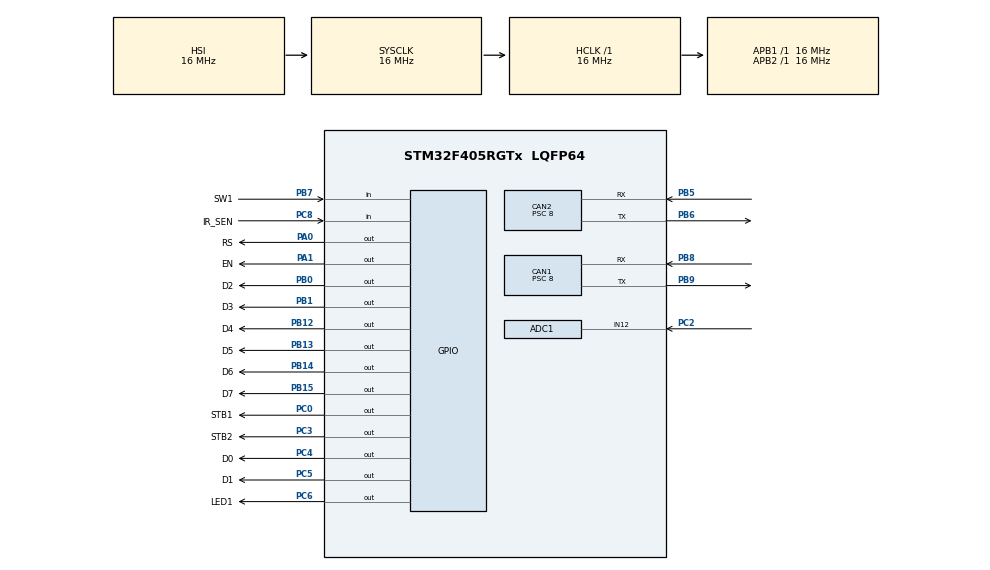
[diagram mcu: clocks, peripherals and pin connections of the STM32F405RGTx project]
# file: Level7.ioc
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ADC1.Channel-0\#ChannelRegularConversion=ADC_CHANNEL_12
ADC1.NbrOfConversionFlag=1
ADC1.Rank-0\#ChannelRegularConversion=1
ADC1.SamplingTime-0\#ChannelRegularConversion=ADC_SAMPLETIME_3CYCLES
ADC1.master=1
CAN1.BS1=CAN_BS1_9TQ
CAN1.BS2=CAN_BS2_2TQ
CAN1.CalculateBaudRate=166666
CAN1.CalculateTimeBit=6000
CAN1.CalculateTimeQuantum=500.0
CAN1.Prescaler=8
CAN2.BS1=CAN_BS1_9TQ
CAN2.BS2=CAN_BS2_2TQ
CAN2.CalculateBaudRate=166666
CAN2.CalculateTimeBit=6000
CAN2.CalculateTimeQuantum=500.0
CAN2.Prescaler=8
Mcu.Family=STM32F4
Mcu.Name=STM32F405RGTx
Mcu.Package=LQFP64
NVIC.PriorityGroup=NVIC_PRIORITYGROUP_4
PA0-WKUP.GPIO_Label=RS
PA0-WKUP.Signal=GPIO_Output
PA1.GPIO_Label=EN
PA1.Signal=GPIO_Output
PA13.Mode=Serial_Wire
PA13.Signal=SYS_JTMS-SWDIO
PA14.Mode=Serial_Wire
PA14.Signal=SYS_JTCK-SWCLK
PB0.GPIO_Label=D2
PB0.Signal=GPIO_Output
PB1.GPIO_Label=D3
PB1.Signal=GPIO_Output
PB12.GPIO_Label=D4
PB12.Signal=GPIO_Output
PB13.GPIO_Label=D5
PB13.Signal=GPIO_Output
PB14.GPIO_Label=D6
PB14.Signal=GPIO_Output
PB15.GPIO_Label=D7
PB15.Signal=GPIO_Output
PB5.Mode=CAN_Activate
PB5.Signal=CAN2_RX
PB6.Mode=CAN_Activate
PB6.Signal=CAN2_TX
PB7.GPIO_Label=SW1
PB7.Signal=GPIO_Input
PB8.Mode=CAN_Activate
PB8.Signal=CAN1_RX
PB9.Mode=CAN_Activate
PB9.Signal=CAN1_TX
PC0.GPIO_Label=STB1
PC0.Signal=GPIO_Output
PC14-OSC32_IN.Mode=LSE-External-Oscillator
PC14-OSC32_IN.Signal=RCC_OSC32_IN
PC15-OSC32_OUT.Mode=LSE-External-Oscillator
PC15-OSC32_OUT.Signal=RCC_OSC32_OUT
PC2.Signal=ADCx_IN12
PC3.GPIO_Label=STB2
PC3.Signal=GPIO_Output
PC4.GPIO_Label=D0
PC4.Signal=GPIO_Output
PC5.GPIO_Label=D1
PC5.Signal=GPIO_Output
PC6.GPIO_Label=LED1
PC6.Signal=GPIO_Output
PC8.GPIO_Label=IR_SEN
PC8.Signal=GPIO_Input
PH0-OSC_IN.Mode=HSE-External-Oscillator
PH0-OSC_IN.Signal=RCC_OSC_IN
PH1-OSC_OUT.Mode=HSE-External-Oscillator
PH1-OSC_OUT.Signal=RCC_OSC_OUT
ProjectManager.HeapSize=0x200
ProjectManager.StackSize=0x400
ProjectManager.TargetToolchain=STM32CubeIDE
RCC.48MHZClocksFreq_Value=48000000
RCC.AHBFreq_Value=16000000
RCC.APB1Freq_Value=16000000
RCC.APB2Freq_Value=16000000
RCC.CortexFreq_Value=16000000
RCC.HSE_VALUE=25000000
RCC.HSI_VALUE=16000000
RCC.SYSCLKFreq_VALUE=16000000
RCC.VCOOutputFreq_Value=192000000
SH.ADCx_IN12.0=ADC1_IN12,IN12
board=custom

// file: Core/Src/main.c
/* USER CODE BEGIN Header */
/**
  ******************************************************************************
  * @file           : main.c
  * @brief          : Main program body
  ******************************************************************************
  * @attention
  *
  * Copyright (c) 2024 STMicroelectronics.
  * All rights reserved.
  *
  * This software is licensed under terms that can be found in the LICENSE file
  * in the root directory of this software component.
  * If no LICENSE file comes with this software, it is provided AS-IS.
  *
  ******************************************************************************
  */
/* USER CODE END Header */
#include "main.h"

ADC_HandleTypeDef hadc1;

CAN_HandleTypeDef hcan1;
CAN_HandleTypeDef hcan2;

/* USER CODE BEGIN PV */
CAN_TxHeaderTypeDef  p1header;
CAN_RxHeaderTypeDef  p2header;
uint32_t pTxMailbox = CAN_TX_MAILBOX0, RxFifo = CAN_RX_FIFO0;
CAN_FilterTypeDef  sFilterConfig;
uint8_t aData[8], received_data[8];
uint8_t speed = 0, count = 0, obstacle_status = 0, engine_status = 0, SW1;
uint8_t can_data, Can_id;
/* USER CODE END PV */

void SystemClock_Config(void);
static void MX_GPIO_Init(void);
static void MX_CAN1_Init(void);
static void MX_CAN2_Init(void);
static void MX_ADC1_Init(void);
/* USER CODE BEGIN PFP */
void lcd_init();
void cmd(unsigned char C);
void data(unsigned char D);
void display(unsigned char *ptr);
void numeric(unsigned char Value);
/* USER CODE END PFP */

int main(void)
{

  /* MCU Configuration--------------------------------------------------------*/

  /* Reset of all peripherals, Initializes the Flash interface and the Systick. */
  HAL_Init();

  /* Configure the system clock */
  SystemClock_Config();

  /* Initialize all configured peripherals */
  MX_GPIO_Init();
  MX_CAN1_Init();
  MX_CAN2_Init();
  MX_ADC1_Init();
  /* USER CODE BEGIN 2 */
  	lcd_init();
	HAL_Delay(500);

	// Set Output pin STB1, STB2 as LOW
	HAL_GPIO_WritePin(GPIOC, STB1_Pin, GPIO_PIN_RESET);
	HAL_GPIO_WritePin(GPIOC, STB2_Pin, GPIO_PIN_RESET);

	// CAN Tx message header configuration
	p1header.DLC = 8;
	p1header.IDE = CAN_ID_STD;
	p1header.StdId = 0x001;
	p1header.RTR = CAN_RTR_DATA;

	// CAN Filter configuration
	sFilterConfig.FilterFIFOAssignment = CAN_FILTER_FIFO0;
	sFilterConfig.FilterIdHigh = 0x00C;
	sFilterConfig.FilterIdLow = 0x00A;
	sFilterConfig.FilterMaskIdHigh = 0;
	sFilterConfig.FilterMaskIdLow = 0;
	sFilterConfig.FilterScale = CAN_FILTERSCALE_32BIT;
	sFilterConfig.FilterActivation = ENABLE;
	HAL_CAN_ConfigFilter(&hcan1, &sFilterConfig);
	HAL_CAN_ConfigFilter(&hcan2, &sFilterConfig);

	// Start CAN transmission
	HAL_CAN_Start(&hcan1);
	HAL_CAN_Start(&hcan2);
  /* USER CODE END 2 */

  /* Infinite loop */
  while (1)
  {

	SW1 = HAL_GPIO_ReadPin(SW1_GPIO_Port, SW1_Pin);
	obstacle_status = HAL_GPIO_ReadPin(IR_SEN_GPIO_Port, IR_SEN_Pin);

	if ((!SW1) && (engine_status == 0))
	{
		engine_status = 1;
		HAL_GPIO_WritePin(LED1_GPIO_Port, LED1_Pin, 0);
	}
	else if ((!SW1) && (engine_status == 1))
	{
		engine_status = 0;
		HAL_GPIO_WritePin(LED1_GPIO_Port, LED1_Pin ,1);
	}

	// ADC start and speed calculation
	HAL_ADC_Start(&hadc1);
	HAL_ADC_PollForConversion(&hadc1, 100);
	count = HAL_ADC_GetValue(&hadc1);
	speed = ((100*count)/4095);
	HAL_ADC_Stop(&hadc1);

	// Data configuration base on engine status
	if (engine_status == 1)
	{
		aData[0] = engine_status;
		aData[1] = speed;
		aData[2] = obtacle_status;
		aData[3] = 0;
		aData[4] = 0;
		aData[5] = 0;
		aData[6] = 0;
		aData[7] = 0;
	}
	else
	{
		aData[0] = engine_status;
		aData[1] = 00;
		aData[2] = 00;
		aData[3] = 0;
		aData[4] = 0;
		aData[5] = 0;
		aData[6] = 0;
		aData[7] = 0;
	}

	// CAN1 send message CAN2 receive
	HAL_CAN_AddTxMessage(&hcan1, &p1header, aData, &pTxMailbox);
	HAL_CAN_GetRxMessage(&hcan2, CAN_RX_FIFO0, &p2header, received_data);
	Can_id = p1header.StdId;

	// LCD display base on received data
	if (received_data[0] == 1)
	{
		cmd(0x80);
		display("   ENGINE: ON   ");
		cmd(0xC0);
		display("SPEED");
		cmd(0xC6);
		numeric(received_data[1]);
		cmd(0xC9);
		display("OBC");
		cmd(0xCE);
		if (received_data[2] == 1)
		{
			display("YES");
		}
		else
		{
			display("NO");
		}

	}
	else if (received_data[0] == 0)
	{
		cmd(0x80);
		display("   ENGINE: OFF   ");
		cmd(0xC0);
		display("SPEED");
		cmd(0xC6);
		numeric(received_data[1]);
		cmd(0xC9);
		display("OBC");
	}
  }
}

void SystemClock_Config(void)
{
  RCC_OscInitTypeDef RCC_OscInitStruct = {0};
  RCC_ClkInitTypeDef RCC_ClkInitStruct = {0};

  /** Configure the main internal regulator output voltage
  */
  __HAL_RCC_PWR_CLK_ENABLE();
  __HAL_PWR_VOLTAGESCALING_CONFIG(PWR_REGULATOR_VOLTAGE_SCALE1);

  /** Initializes the RCC Oscillators according to the specified parameters
  * in the RCC_OscInitTypeDef structure.
  */
  RCC_OscInitStruct.OscillatorType = RCC_OSCILLATORTYPE_HSI;
  RCC_OscInitStruct.HSIState = RCC_HSI_ON;
  RCC_OscInitStruct.HSICalibrationValue = RCC_HSICALIBRATION_DEFAULT;
  RCC_OscInitStruct.PLL.PLLState = RCC_PLL_NONE;
  if (HAL_RCC_OscConfig(&RCC_OscInitStruct) != HAL_OK)
  {
    Error_Handler();
  }

  /** Initializes the CPU, AHB and APB buses clocks
  */
  RCC_ClkInitStruct.ClockType = RCC_CLOCKTYPE_HCLK|RCC_CLOCKTYPE_SYSCLK
                              |RCC_CLOCKTYPE_PCLK1|RCC_CLOCKTYPE_PCLK2;
  RCC_ClkInitStruct.SYSCLKSource = RCC_SYSCLKSOURCE_HSI;
  RCC_ClkInitStruct.AHBCLKDivider = RCC_SYSCLK_DIV1;
  RCC_ClkInitStruct.APB1CLKDivider = RCC_HCLK_DIV1;
  RCC_ClkInitStruct.APB2CLKDivider = RCC_HCLK_DIV1;

  if (HAL_RCC_ClockConfig(&RCC_ClkInitStruct, FLASH_LATENCY_0) != HAL_OK)
  {
    Error_Handler();
  }
}

static void MX_ADC1_Init(void)
{

  ADC_ChannelConfTypeDef sConfig = {0};

  /** Configure the global features of the ADC (Clock, Resolution, Data Alignment and number of conversion)
  */
  hadc1.Instance = ADC1;
  hadc1.Init.ClockPrescaler = ADC_CLOCK_SYNC_PCLK_DIV2;
  hadc1.Init.Resolution = ADC_RESOLUTION_12B;
  hadc1.Init.ScanConvMode = DISABLE;
  hadc1.Init.ContinuousConvMode = DISABLE;
  hadc1.Init.DiscontinuousConvMode = DISABLE;
  hadc1.Init.ExternalTrigConvEdge = ADC_EXTERNALTRIGCONVEDGE_NONE;
  hadc1.Init.ExternalTrigConv = ADC_SOFTWARE_START;
  hadc1.Init.DataAlign = ADC_DATAALIGN_RIGHT;
  hadc1.Init.NbrOfConversion = 1;
  hadc1.Init.DMAContinuousRequests = DISABLE;
  hadc1.Init.EOCSelection = ADC_EOC_SINGLE_CONV;
  if (HAL_ADC_Init(&hadc1) != HAL_OK)
  {
    Error_Handler();
  }

  /** Configure for the selected ADC regular channel its corresponding rank in the sequencer and its sample time.
  */
  sConfig.Channel = ADC_CHANNEL_12;
  sConfig.Rank = 1;
  sConfig.SamplingTime = ADC_SAMPLETIME_3CYCLES;
  if (HAL_ADC_ConfigChannel(&hadc1, &sConfig) != HAL_OK)
  {
    Error_Handler();
  }

}

static void MX_CAN1_Init(void)
{

  hcan1.Instance = CAN1;
  hcan1.Init.Prescaler = 8;
  hcan1.Init.Mode = CAN_MODE_NORMAL;
  hcan1.Init.SyncJumpWidth = CAN_SJW_1TQ;
  hcan1.Init.TimeSeg1 = CAN_BS1_9TQ;
  hcan1.Init.TimeSeg2 = CAN_BS2_2TQ;
  hcan1.Init.TimeTriggeredMode = DISABLE;
  hcan1.Init.AutoBusOff = DISABLE;
  hcan1.Init.AutoWakeUp = DISABLE;
  hcan1.Init.AutoRetransmission = DISABLE;
  hcan1.Init.ReceiveFifoLocked = DISABLE;
  hcan1.Init.TransmitFifoPriority = DISABLE;
  if (HAL_CAN_Init(&hcan1) != HAL_OK)
  {
    Error_Handler();
  }

}

static void MX_CAN2_Init(void)
{

  hcan2.Instance = CAN2;
  hcan2.Init.Prescaler = 8;
  hcan2.Init.Mode = CAN_MODE_NORMAL;
  hcan2.Init.SyncJumpWidth = CAN_SJW_1TQ;
  hcan2.Init.TimeSeg1 = CAN_BS1_9TQ;
  hcan2.Init.TimeSeg2 = CAN_BS2_2TQ;
  hcan2.Init.TimeTriggeredMode = DISABLE;
  hcan2.Init.AutoBusOff = DISABLE;
  hcan2.Init.AutoWakeUp = DISABLE;
  hcan2.Init.AutoRetransmission = DISABLE;
  hcan2.Init.ReceiveFifoLocked = DISABLE;
  hcan2.Init.TransmitFifoPriority = DISABLE;
  if (HAL_CAN_Init(&hcan2) != HAL_OK)
  {
    Error_Handler();
  }

}

static void MX_GPIO_Init(void)
{
  GPIO_InitTypeDef GPIO_InitStruct = {0};

  /* GPIO Ports Clock Enable */
  __HAL_RCC_GPIOC_CLK_ENABLE();
  __HAL_RCC_GPIOH_CLK_ENABLE();
  __HAL_RCC_GPIOA_CLK_ENABLE();
  __HAL_RCC_GPIOB_CLK_ENABLE();

  /*Configure GPIO pin Output Level */
  HAL_GPIO_WritePin(GPIOC, STB1_Pin|STB2_Pin|D0_Pin|D1_Pin
                          |LED1_Pin, GPIO_PIN_RESET);

  /*Configure GPIO pin Output Level */
  HAL_GPIO_WritePin(GPIOA, RS_Pin|EN_Pin, GPIO_PIN_RESET);

  /*Configure GPIO pin Output Level */
  HAL_GPIO_WritePin(GPIOB, D2_Pin|D3_Pin|D4_Pin|D5_Pin
                          |D6_Pin|D7_Pin, GPIO_PIN_RESET);

  /*Configure GPIO pins : STB1_Pin STB2_Pin D0_Pin D1_Pin
                           LED1_Pin */
  GPIO_InitStruct.Pin = STB1_Pin|STB2_Pin|D0_Pin|D1_Pin
                          |LED1_Pin;
  GPIO_InitStruct.Mode = GPIO_MODE_OUTPUT_PP;
  GPIO_InitStruct.Pull = GPIO_NOPULL;
  GPIO_InitStruct.Speed = GPIO_SPEED_FREQ_LOW;
  HAL_GPIO_Init(GPIOC, &GPIO_InitStruct);

  /*Configure GPIO pins : RS_Pin EN_Pin */
  GPIO_InitStruct.Pin = RS_Pin|EN_Pin;
  GPIO_InitStruct.Mode = GPIO_MODE_OUTPUT_PP;
  GPIO_InitStruct.Pull = GPIO_NOPULL;
  GPIO_InitStruct.Speed = GPIO_SPEED_FREQ_LOW;
  HAL_GPIO_Init(GPIOA, &GPIO_InitStruct);

  /*Configure GPIO pins : D2_Pin D3_Pin D4_Pin D5_Pin
                           D6_Pin D7_Pin */
  GPIO_InitStruct.Pin = D2_Pin|D3_Pin|D4_Pin|D5_Pin
                          |D6_Pin|D7_Pin;
  GPIO_InitStruct.Mode = GPIO_MODE_OUTPUT_PP;
  GPIO_InitStruct.Pull = GPIO_NOPULL;
  GPIO_InitStruct.Speed = GPIO_SPEED_FREQ_LOW;
  HAL_GPIO_Init(GPIOB, &GPIO_InitStruct);

  /*Configure GPIO pin : IR_SEN_Pin */
  GPIO_InitStruct.Pin = IR_SEN_Pin;
  GPIO_InitStruct.Mode = GPIO_MODE_INPUT;
  GPIO_InitStruct.Pull = GPIO_NOPULL;
  HAL_GPIO_Init(IR_SEN_GPIO_Port, &GPIO_InitStruct);

  /*Configure GPIO pin : SW1_Pin */
  GPIO_InitStruct.Pin = SW1_Pin;
  GPIO_InitStruct.Mode = GPIO_MODE_INPUT;
  GPIO_InitStruct.Pull = GPIO_NOPULL;
  HAL_GPIO_Init(SW1_GPIO_Port, &GPIO_InitStruct);

}

/* USER CODE BEGIN 4 */
void lcd_init()
{
	HAL_Delay(10);
	cmd(0x01);
	cmd(0x38);
	cmd(0x06);
	cmd(0x0C);
	HAL_Delay(10);
}

void cmd(unsigned char C)
{
	HAL_GPIO_WritePin(GPIOA, RS_Pin, 0);
	HAL_GPIO_WritePin(GPIOC, D0_Pin,(C&0X01));
	HAL_GPIO_WritePin(GPIOC, D1_Pin,(C&0X02));
	HAL_GPIO_WritePin(GPIOB, D2_Pin,(C&0X04));
	HAL_GPIO_WritePin(GPIOB, D3_Pin,(C&0X08));
	HAL_GPIO_WritePin(GPIOB, D4_Pin,(C&0X10));
	HAL_GPIO_WritePin(GPIOB, D5_Pin,(C&0X20));
	HAL_GPIO_WritePin(GPIOB, D6_Pin,(C&0X40));
	HAL_GPIO_WritePin(GPIOB, D7_Pin,(C&0X80));
	HAL_GPIO_WritePin(GPIOA, EN_Pin, 1);
	HAL_Delay(5);
	HAL_GPIO_WritePin(GPIOA, EN_Pin, 0);
	HAL_Delay(5);
}

void data (unsigned char D)
{
	HAL_GPIO_WritePin(GPIOA, RS_Pin, 1);
	HAL_GPIO_WritePin(GPIOC, D0_Pin,(D&0X01));
	HAL_GPIO_WritePin(GPIOC, D1_Pin,(D&0X02));
	HAL_GPIO_WritePin(GPIOB, D2_Pin,(D&0X04));
	HAL_GPIO_WritePin(GPIOB, D3_Pin,(D&0X08));
	HAL_GPIO_WritePin(GPIOB, D4_Pin,(D&0X10));
	HAL_GPIO_WritePin(GPIOB, D5_Pin,(D&0X20));
	HAL_GPIO_WritePin(GPIOB, D6_Pin,(D&0X40));
	HAL_GPIO_WritePin(GPIOB, D7_Pin,(D&0X80));
	HAL_GPIO_WritePin(GPIOA, EN_Pin, 1);
	HAL_Delay(5);
	HAL_GPIO_WritePin(GPIOA, EN_Pin, 0);
	HAL_Delay(5);
}

void display(unsigned char *ptr)
{
	while(*ptr!='\0')
	{
	data(*ptr++);
	HAL_Delay(2);
	}
}

void numeric(unsigned char Value)
{
	data(((Value%1000)/100)+0x30);
	data(((Value%100)/10)+0X30);
	data((Value%10)+0X30);
}
/* USER CODE END 4 */

void Error_Handler(void)
{
  __disable_irq();
  while (1)
  {
  }
}
